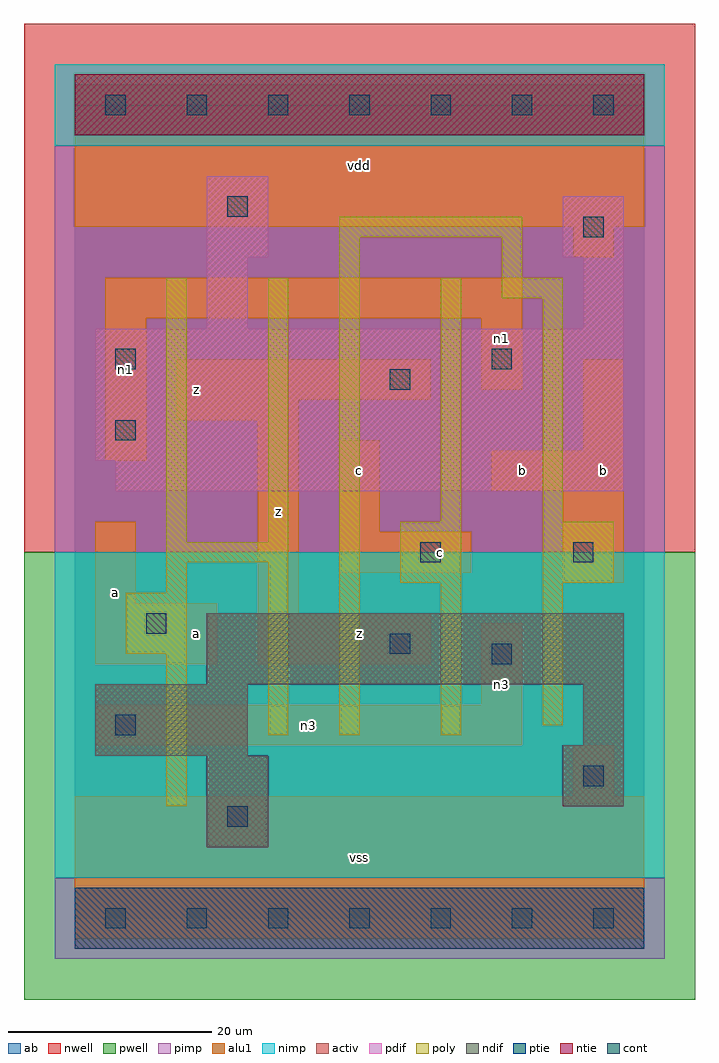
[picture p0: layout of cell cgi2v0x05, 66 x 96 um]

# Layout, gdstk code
import gdstk
lib = gdstk.Library(unit=1e-6, precision=1e-09)
def R(c, l, rs):  # rectangles x0, y0, x1, y1
    for r in rs: c.add(gdstk.rectangle(r[:2], r[2:], *l))
def A(c, l, x, y, w, h, nx, ny, dx, dy):  # array of equal rectangles
    R(c, l, [(x+i*dx, y+j*dy, x+i*dx+w, y+j*dy+h) for i in range(nx) for j in range(ny)])
ndif = (3, 0)
pdif = (4, 0)
ntie = (5, 0)
ptie = (6, 0)
cont = (25, 0)
pwell = (41, 0)
nwell = (42, 0)
activ = (43, 0)
pimp = (44, 0)
nimp = (45, 0)
poly = (46, 0)
alu1 = (49, 0)
ab = (63, 0)

cgi2v0x05 = lib.new_cell('cgi2v0x05')
R(cgi2v0x05, ndif, [(13,7,19,16), (48,11,54,17), (2,16,17,23), (50,17,54,23), (13,23,54,30)])
R(cgi2v0x05, pdif, [(4,42,54,45), (2,45,54,58), (13,58,17,65), (50,58,54,65), (13,65,19,73), (48,65,54,71)])
R(cgi2v0x05, ntie, [(0,77,56,83)])
R(cgi2v0x05, ptie, [(0,-3,56,3)])
A(cgi2v0x05, cont, 3, -1, 2, 2, 7, 2, 8, 80)
R(cgi2v0x05, cont, [(15,9,17,11), (50,13,52,15), (4,18,6,20), (41,25,43,27), (31,26,33,28), (7,28,9,30), (34,35,36,37), (49,35,51,37), (4,47,6,49), (31,52,33,54), (4,54,6,56), (41,54,43,56), (50,67,52,69), (15,69,17,71)])
R(cgi2v0x05, pwell, [(-5,-8,61,36)])
R(cgi2v0x05, nwell, [(-5,36,61,88)])
R(cgi2v0x05, activ, [(0,-3,56,3), (13,7,19,16), (48,11,54,17), (2,16,17,23), (50,17,54,23), (13,23,54,30), (4,42,54,45), (2,45,54,58), (13,58,17,65), (50,58,54,65), (13,65,19,73), (48,65,54,71), (0,77,56,83)])
R(cgi2v0x05, pimp, [(-2,-4,58,4), (-2,36,58,76)])
R(cgi2v0x05, nimp, [(-2,4,58,36), (-2,76,58,84)])
R(cgi2v0x05, poly, [(9,11,11,26), (19,18,21,35), (26,18,28,67), (36,18,38,33), (46,19,48,33), (5,26,11,32), (9,32,11,35), (32,33,38,39), (46,33,53,39), (9,35,21,37), (9,37,11,63), (19,37,21,63), (36,39,38,63), (46,39,48,61), (42,61,48,63), (42,63,44,67), (26,67,44,69)])
R(cgi2v0x05, alu1, [(0,-2,56,12), (49,12,53,17), (2,17,44,21), (40,21,44,29), (2,25,14,31), (18,25,35,30), (18,30,22,49), (2,31,6,39), (48,33,54,42), (26,34,39,38), (26,38,30,47), (41,42,54,46), (3,45,7,59), (50,46,54,55), (10,49,22,51), (10,51,35,55), (40,52,44,59), (3,59,44,63), (49,65,53,68), (0,68,56,82)])
R(cgi2v0x05, ab, [(0,0,56,80)])
cgi2v0x05.add(gdstk.Label('n1', (5,54), layer=49, texttype=0))
cgi2v0x05.add(gdstk.Label('n3', (42,23), layer=49, texttype=0))
cgi2v0x05.add(gdstk.Label('n3', (23,19), layer=49, texttype=0))
cgi2v0x05.add(gdstk.Label('n1', (42,57), layer=49, texttype=0))
cgi2v0x05.add(gdstk.Label('a', (4,32), layer=49, texttype=0))
cgi2v0x05.add(gdstk.Label('a', (12,28), layer=49, texttype=0))
cgi2v0x05.add(gdstk.Label('z', (20,40), layer=49, texttype=0))
cgi2v0x05.add(gdstk.Label('z', (12,52), layer=49, texttype=0))
cgi2v0x05.add(gdstk.Label('vss', (28,6), layer=49, texttype=0))
cgi2v0x05.add(gdstk.Label('z', (28,28), layer=49, texttype=0))
cgi2v0x05.add(gdstk.Label('c', (36,36), layer=49, texttype=0))
cgi2v0x05.add(gdstk.Label('c', (28,44), layer=49, texttype=0))
cgi2v0x05.add(gdstk.Label('vdd', (28,74), layer=49, texttype=0))
cgi2v0x05.add(gdstk.Label('b', (52,44), layer=49, texttype=0))
cgi2v0x05.add(gdstk.Label('b', (44,44), layer=49, texttype=0))

lib.write_gds('cgi2v0x05.gds')
